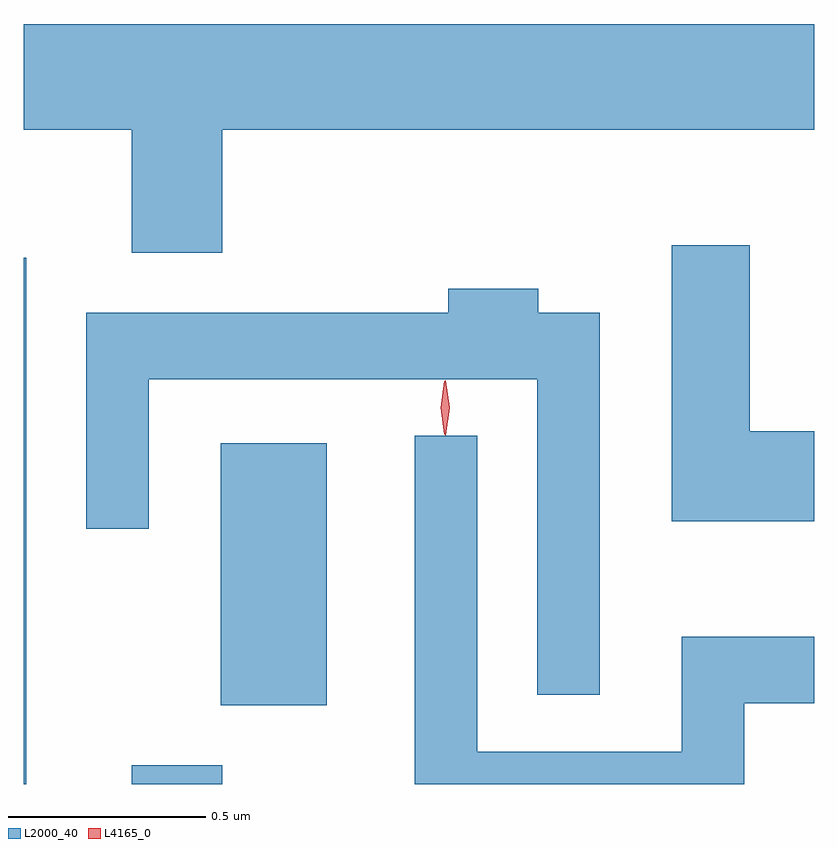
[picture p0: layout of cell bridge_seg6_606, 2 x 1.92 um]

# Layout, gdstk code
import gdstk
lib = gdstk.Library(unit=1e-6, precision=1e-09)
def R(c, l, rs):  # rectangles x0, y0, x1, y1
    for r in rs: c.add(gdstk.rectangle(r[:2], r[2:], *l))
def P(c, l, *ps):  # polygons
    for p in ps: c.add(gdstk.Polygon(p, *l))
L2000_40 = (2000, 40)
L4165_0 = (4165, 0)

bridge_seg6_606 = lib.new_cell('bridge_seg6_606')
R(bridge_seg6_606, L2000_40, [(417.527,1626.082,417.534,1627.413), (417.801,1626.082,418.029,1626.129), (418.026,1626.281,418.294,1626.944)])
P(bridge_seg6_606, L2000_40, [(418.029,1627.736),(419.527,1627.736),(419.527,1628.004),(417.527,1628.004),(417.527,1627.736),(417.801,1627.736),(417.801,1627.426),(418.029,1627.426)],
  [(419.527,1626.974),(419.364,1626.974),(419.364,1627.444),(419.166,1627.444),(419.166,1626.746),(419.527,1626.746)],
  [(418.984,1627.274),(418.829,1627.274),(418.829,1627.334),(418.601,1627.334),(418.601,1627.274),(417.686,1627.274),(417.686,1626.728),(417.844,1626.728),(417.844,1627.106),(418.826,1627.106),(418.826,1626.308),(418.984,1626.308)],
  [(419.349,1626.286),(419.527,1626.286),(419.527,1626.454),(419.191,1626.454),(419.191,1626.164),(418.674,1626.164),(418.674,1626.963),(418.516,1626.963),(418.516,1626.082),(419.349,1626.082)])
P(bridge_seg6_606, L4165_0, [(418.594,1626.964),(418.585,1627.033),(418.594,1627.102),(418.595,1627.103),(418.595,1627.102),(418.605,1627.033),(418.595,1626.964),(418.595,1626.964)],
  [(418.591,1626.967),(418.582,1627.034),(418.591,1627.1),(418.592,1627.1),(418.592,1627.1),(418.602,1627.034),(418.592,1626.967),(418.592,1626.967)])

lib.write_gds('bridge_seg6_606.gds')
